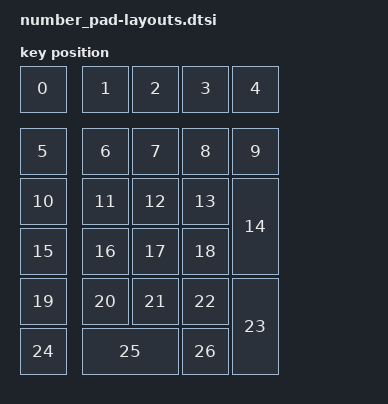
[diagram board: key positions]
#include <physical_layouts.dtsi>

/ {
    physical_layout_number_pad: physical_layout_number_pad {
        compatible = "zmk,physical-layout";
        display-name = "Number_pad";
        keys  //                     w   h    x    y     rot    rx    ry
            = <&key_physical_attrs 100 100    0    0       0     0     0>
            , <&key_physical_attrs 100 100  125    0       0   125     0>
            , <&key_physical_attrs 100 100  225    0       0   225     0>
            , <&key_physical_attrs 100 100  325    0       0   325     0>
            , <&key_physical_attrs 100 100  425    0       0   425     0>
            , <&key_physical_attrs 100 100    0  125       0     0   125>
            , <&key_physical_attrs 100 100  125  125       0   125   125>
            , <&key_physical_attrs 100 100  225  125       0   225   125>
            , <&key_physical_attrs 100 100  325  125       0   325   125>
            , <&key_physical_attrs 100 100  425  125       0   425   125>
            , <&key_physical_attrs 100 100    0  225       0     0   225>
            , <&key_physical_attrs 100 100  125  225       0   125   225>
            , <&key_physical_attrs 100 100  225  225       0   225   225>
            , <&key_physical_attrs 100 100  325  225       0   325   225>
            , <&key_physical_attrs 100 200  425  225       0   425   225>
            , <&key_physical_attrs 100 100    0  325       0     0   325>
            , <&key_physical_attrs 100 100  125  325       0   125   325>
            , <&key_physical_attrs 100 100  225  325       0   225   325>
            , <&key_physical_attrs 100 100  325  325       0   325   325>
            , <&key_physical_attrs 100 100    0  425       0     0   425>
            , <&key_physical_attrs 100 100  125  425       0   125   425>
            , <&key_physical_attrs 100 100  225  425       0   225   425>
            , <&key_physical_attrs 100 100  325  425       0   325   425>
            , <&key_physical_attrs 100 200  425  425       0   425   425>
            , <&key_physical_attrs 100 100    0  525       0     0   525>
            , <&key_physical_attrs 200 100  125  525       0   125   525>
            , <&key_physical_attrs 100 100  325  525       0   325   525>
            ;
    };
};
